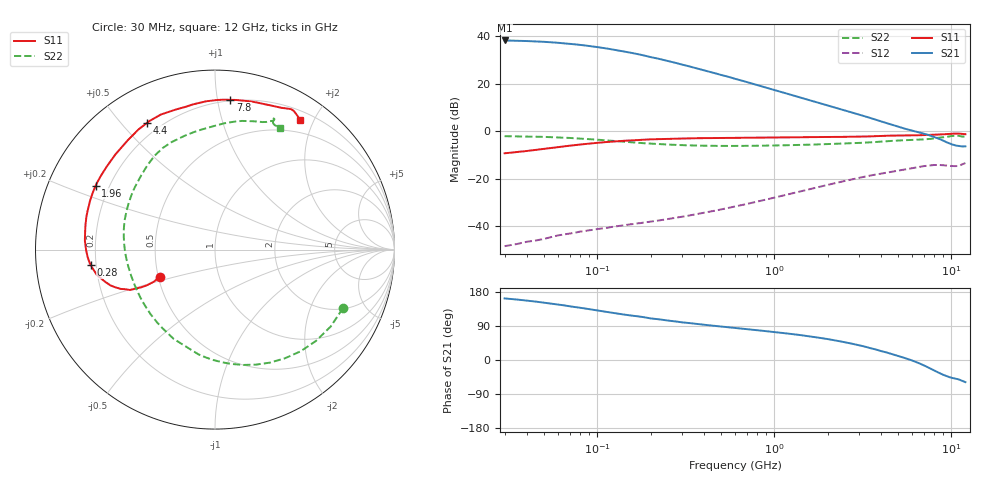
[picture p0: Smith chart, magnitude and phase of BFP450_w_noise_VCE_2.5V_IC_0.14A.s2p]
! Infineon Technologies  Discrete & RF Semiconductors
! BFP450
! VCE =  2.5 V,  IC = 0.14 A
! Common Emitter S-Parameters:  Nov 2015
# GHz  S  MA  R  50
!  f  S11  S21  S12  S22
! GHz  MAG  ANG  MAG  ANG  MAG  ANG  MAG  ANG
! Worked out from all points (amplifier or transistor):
!   239 points, 30 MHz to 12 GHz, reference 50 ohm
!   highest |S21| = 38.2 dB at 30 MHz (marker M1)
!   |S21| within 3 dB of that: start of sweep to 104.8 MHz
!   unconditionally stable (mu >= 1): 762.5 MHz to end of sweep
!   at 300 MHz: K = 0.78, MSG = 32.0 dB, |S12| = -36.0 dB
!   at 1.88 GHz: K = 1.10, MAG = 15.4 dB, |S12| = -23.1 dB
!   at 12 GHz: K = 1.08, MAG = 1.8 dB, |S12| = -13.4 dB
!   lowest NFmin = 2.52 dB at 450 MHz
!   S11 on the Smith chart (normalised r, x): 30 MHz: 0.51, -0.17; 280 MHz: 0.18, -0.06; 1.96 GHz: 0.15, +0.25; 4.4 GHz: 0.15, +0.59; 7.8 GHz: 0.19, +1.09; 12 GHz: 0.32, +1.80
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0.03  0.3424 -154.0  81.09 162.5  0.0038 81.9  0.7838 -24.7
0.04  0.3824 -152.3  78.81 156.8  0.0047 77.4  0.7741 -33.6
0.05  0.4258 -152.3  75.95 151.3  0.0054 72.9  0.7586 -42.1
0.06  0.4604 -152.9  72.44 146.5  0.0064 69.6  0.7407 -49.9
0.07  0.495 -153.8  68.89 141.7  0.007 67.9  0.7199 -57.3
0.085  0.5357 -155.4  63.75 136.1  0.0079 64.8  0.6893 -67.2
0.105  0.578 -158.1  57.35 129.3  0.0089 61.5  0.6528 -78.7
0.13  0.6148 -161.0  50.35 122.5  0.01 59.6  0.6152 -90.9
0.15  0.6359 -163.4  45.57 118.1  0.0108 58.9  0.5908 -99.0
0.2  0.6732 -167.9  36.25 109.8  0.0125 58.3  0.5483 -114.8
0.24  0.6865 -170.6  31.18 105.3  0.0138 58.6  0.5265 -123.9
0.28  0.6974 -172.9  27.12 101.5  0.0151 59.3  0.5129 -131.4
0.3  0.7025 -174.0  25.27 99.5  0.0158 59.7  0.5083 -134.9
0.4  0.7137 -178.2  19.12 93.0  0.0191 61.5  0.4942 -147.1
0.6  0.7269 176.0  12.64 84.4  0.0259 63.5  0.4893 -161.7
1  0.7362 167.7  7.333 73.8  0.0399 63.2  0.5 -177.5
1.64  0.7492 156.9  4.313 61.5  0.0621 58.0  0.5212 167.0
1.96  0.7544 151.8  3.556 55.9  0.0727 54.5  0.5313 160.6
4.4  0.8014 118.1  1.44 18.6  0.1356 25.9  0.6173 123.9
4.5  0.8041 117.0  1.4 17.1  0.1377 24.9  0.6216 122.8
7.8  0.8388 84.2  0.78 -24.9  0.1924 -10.8  0.696 88.2
12  0.8639 56.9  0.48 -58.4  0.2135 -40.6  0.77 61.9
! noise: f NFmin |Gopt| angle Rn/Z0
0.45  2.52  0.68  -171  0.07
0.9  2.56  0.71  -165  0.09
1.9  2.65  0.72  -149  0.21
2.4  2.73  0.72  -139  0.32
